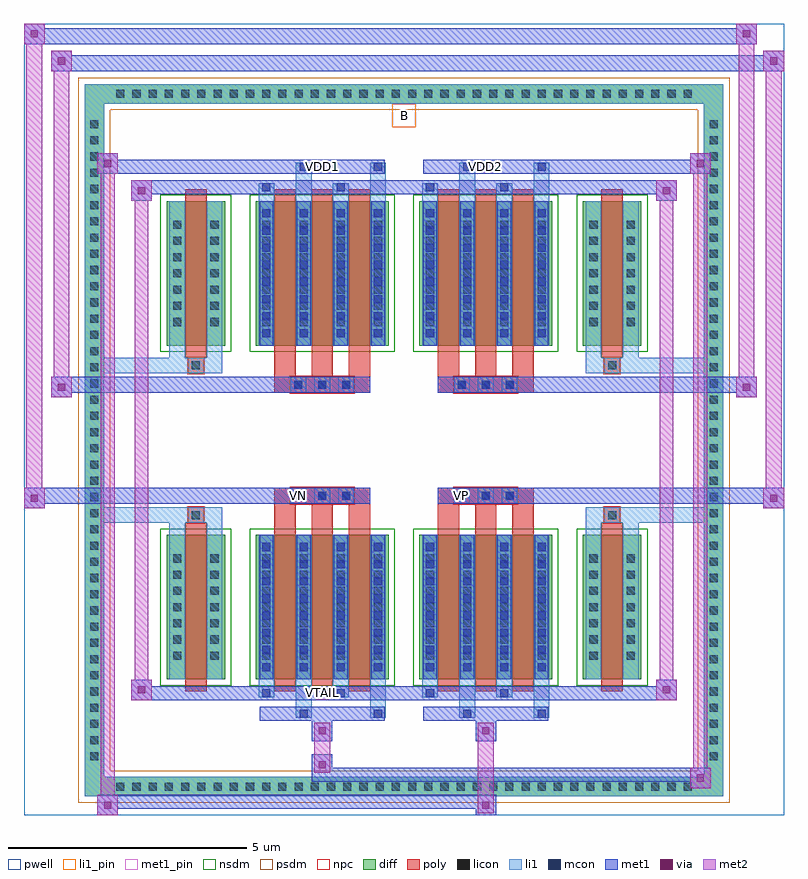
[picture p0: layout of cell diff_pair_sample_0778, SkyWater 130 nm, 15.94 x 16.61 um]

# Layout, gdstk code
import gdstk
lib = gdstk.Library(unit=1e-6, precision=5e-09)
def R(c, l, rs):  # rectangles x0, y0, x1, y1
    for r in rs: c.add(gdstk.rectangle(r[:2], r[2:], *l))
def A(c, l, x, y, w, h, nx, ny, dx, dy):  # array of equal rectangles
    R(c, l, [(x+i*dx, y+j*dy, x+i*dx+w, y+j*dy+h) for i in range(nx) for j in range(ny)])
def P(c, l, *ps):  # polygons
    for p in ps: c.add(gdstk.Polygon(p, *l))
pwell = (64, 44)
diff = (65, 20)
poly = (66, 20)
licon = (66, 44)
li1_pin = (67, 16)
li1 = (67, 20)
mcon = (67, 44)
met1_pin = (68, 16)
met1 = (68, 20)
via = (68, 44)
met2 = (69, 20)
nsdm = (93, 44)
psdm = (94, 20)
npc = (95, 20)

diff_pair_sample_0778 = lib.new_cell('diff_pair_sample_0778')
R(diff_pair_sample_0778, pwell, [(-7.97,-7.87,7.97,8.74), (-5.29,-6.06,-0.01,-0.8), (0.01,-6.06,5.29,-0.8), (-5.29,0.8,-0.01,6.06), (0.01,0.8,5.29,6.06)])
A(diff_pair_sample_0778, diff, -6.155, -7.47, 0.41, 0.41, 36, 2, 0.34, 14.53)
A(diff_pair_sample_0778, diff, -6.7, -6.835, 0.41, 0.41, 1, 40, 0, 0.34)
A(diff_pair_sample_0778, diff, 6.29, -6.835, 0.41, 0.41, 1, 40, 0, 0.34)
R(diff_pair_sample_0778, diff, [(-6.155,-7.47,6.155,-7.06), (-6.7,-6.835,-6.29,6.835), (6.29,-6.835,6.7,6.835), (-4.98,-5.015,-3.75,-1.985), (-3.11,-5.015,-0.32,-1.985), (0.32,-5.015,3.11,-1.985), (3.75,-5.015,4.98,-1.985), (-4.98,1.985,-3.75,5.015), (-3.11,1.985,-0.32,5.015), (0.32,1.985,3.11,5.015), (3.75,1.985,4.98,5.015), (-6.155,7.06,6.155,7.47)])
P(diff_pair_sample_0778, diff, [(6.7,7.47),(-6.7,7.47),(-6.7,-7.06),(-6.29,-7.06),(-6.29,7.06),(6.29,7.06),(6.29,-7.06),(-6.29,-7.06),(-6.7,-7.06),(-6.7,-7.47),(6.7,-7.47)])
A(diff_pair_sample_0778, poly, -2.72, -5.265, 0.45, 3.53, 3, 2, 0.78, 7)
A(diff_pair_sample_0778, poly, 0.71, -5.265, 0.45, 3.53, 3, 2, 0.78, 7)
A(diff_pair_sample_0778, poly, -2.72, -1.735, 0.45, 0.405, 3, 2, 0.78, 3.065)
A(diff_pair_sample_0778, poly, 0.71, -1.735, 0.45, 0.405, 3, 2, 0.78, 3.065)
A(diff_pair_sample_0778, poly, -2.38, -1.33, 0.33, 0.33, 3, 2, 0.5, 2.33)
A(diff_pair_sample_0778, poly, 1.05, -1.33, 0.33, 0.33, 3, 2, 0.5, 2.33)
R(diff_pair_sample_0778, poly, [(-4.59,-5.265,-4.14,-1.735), (4.14,-5.265,4.59,-1.735), (-4.53,-1.735,-4.2,-1.405), (-4.53,-1.735,-4.2,-1.405), (4.2,-1.735,4.53,-1.405), (4.2,-1.735,4.53,-1.405), (-2.72,-1.33,-0.71,-1), (0.71,-1.33,2.72,-1), (-2.72,1,-0.71,1.33), (0.71,1,2.72,1.33), (-4.53,1.405,-4.2,1.735), (-4.53,1.405,-4.2,1.735), (4.2,1.405,4.53,1.735), (4.2,1.405,4.53,1.735), (-4.59,1.735,-4.14,5.265), (4.14,1.735,4.59,5.265)])
A(diff_pair_sample_0778, licon, -6.035, -7.35, 0.17, 0.17, 36, 2, 0.34, 14.53)
A(diff_pair_sample_0778, licon, -6.58, -6.715, 0.17, 0.17, 1, 40, 0, 0.34)
A(diff_pair_sample_0778, licon, 6.41, -6.715, 0.17, 0.17, 1, 40, 0, 0.34)
A(diff_pair_sample_0778, licon, -4.84, -4.605, 0.17, 0.17, 1, 7, 0, 0.34)
A(diff_pair_sample_0778, licon, -4.06, -4.605, 0.17, 0.17, 1, 7, 0, 0.34)
A(diff_pair_sample_0778, licon, -2.97, -4.605, 0.17, 0.17, 4, 7, 0.78, 0.34)
A(diff_pair_sample_0778, licon, 0.46, -4.605, 0.17, 0.17, 4, 7, 0.78, 0.34)
A(diff_pair_sample_0778, licon, 3.89, -4.605, 0.17, 0.17, 1, 7, 0, 0.34)
A(diff_pair_sample_0778, licon, 4.67, -4.605, 0.17, 0.17, 1, 7, 0, 0.34)
A(diff_pair_sample_0778, licon, -2.3, -1.25, 0.17, 0.17, 3, 2, 0.5, 2.33)
A(diff_pair_sample_0778, licon, 1.13, -1.25, 0.17, 0.17, 3, 2, 0.5, 2.33)
A(diff_pair_sample_0778, licon, -4.84, 2.395, 0.17, 0.17, 1, 7, 0, 0.34)
A(diff_pair_sample_0778, licon, -4.06, 2.395, 0.17, 0.17, 1, 7, 0, 0.34)
A(diff_pair_sample_0778, licon, -2.97, 2.395, 0.17, 0.17, 4, 7, 0.78, 0.34)
A(diff_pair_sample_0778, licon, 0.46, 2.395, 0.17, 0.17, 4, 7, 0.78, 0.34)
A(diff_pair_sample_0778, licon, 3.89, 2.395, 0.17, 0.17, 1, 7, 0, 0.34)
A(diff_pair_sample_0778, licon, 4.67, 2.395, 0.17, 0.17, 1, 7, 0, 0.34)
R(diff_pair_sample_0778, licon, [(-4.45,-1.655,-4.28,-1.485), (4.28,-1.655,4.45,-1.485), (-4.45,1.485,-4.28,1.655), (4.28,1.485,4.45,1.655)])
R(diff_pair_sample_0778, li1_pin, [(-0.25,6.56,0.25,7.06)])
A(diff_pair_sample_0778, li1, -6.115, -7.43, 0.33, 0.33, 36, 2, 0.34, 14.53)
A(diff_pair_sample_0778, li1, -6.66, -6.795, 0.33, 0.33, 1, 40, 0, 0.34)
A(diff_pair_sample_0778, li1, 6.33, -6.795, 0.33, 0.33, 1, 40, 0, 0.34)
A(diff_pair_sample_0778, li1, -3.05, -5.015, 0.33, 3.03, 4, 2, 0.78, 7)
A(diff_pair_sample_0778, li1, 0.38, -5.015, 0.33, 3.03, 4, 2, 0.78, 7)
A(diff_pair_sample_0778, li1, -2.97, -4.845, 0.17, 0.17, 4, 8, 0.78, 0.36)
A(diff_pair_sample_0778, li1, -2.97, -4.845, 0.17, 2.69, 4, 2, 0.78, 7)
A(diff_pair_sample_0778, li1, 0.46, -4.845, 0.17, 0.17, 4, 8, 0.78, 0.36)
A(diff_pair_sample_0778, li1, 0.46, -4.845, 0.17, 2.69, 4, 2, 0.78, 7)
A(diff_pair_sample_0778, li1, -4.92, -4.685, 0.33, 0.33, 1, 7, 0, 0.34)
A(diff_pair_sample_0778, li1, -4.14, -4.685, 0.33, 0.33, 1, 7, 0, 0.34)
A(diff_pair_sample_0778, li1, -3.05, -4.685, 0.33, 0.33, 4, 7, 0.78, 0.34)
A(diff_pair_sample_0778, li1, 0.38, -4.685, 0.33, 0.33, 4, 7, 0.78, 0.34)
A(diff_pair_sample_0778, li1, 3.81, -4.685, 0.33, 0.33, 1, 7, 0, 0.34)
A(diff_pair_sample_0778, li1, 4.59, -4.685, 0.33, 0.33, 1, 7, 0, 0.34)
A(diff_pair_sample_0778, li1, -2.38, -1.33, 0.33, 0.33, 3, 2, 0.5, 2.33)
A(diff_pair_sample_0778, li1, 1.05, -1.33, 0.33, 0.33, 3, 2, 0.5, 2.33)
A(diff_pair_sample_0778, li1, -2.97, 2.155, 0.17, 0.17, 4, 8, 0.78, 0.36)
A(diff_pair_sample_0778, li1, 0.46, 2.155, 0.17, 0.17, 4, 8, 0.78, 0.36)
A(diff_pair_sample_0778, li1, -4.92, 2.315, 0.33, 0.33, 1, 7, 0, 0.34)
A(diff_pair_sample_0778, li1, -4.14, 2.315, 0.33, 0.33, 1, 7, 0, 0.34)
A(diff_pair_sample_0778, li1, -3.05, 2.315, 0.33, 0.33, 4, 7, 0.78, 0.34)
A(diff_pair_sample_0778, li1, 0.38, 2.315, 0.33, 0.33, 4, 7, 0.78, 0.34)
A(diff_pair_sample_0778, li1, 3.81, 2.315, 0.33, 0.33, 1, 7, 0, 0.34)
A(diff_pair_sample_0778, li1, 4.59, 2.315, 0.33, 0.33, 1, 7, 0, 0.34)
R(diff_pair_sample_0778, li1, [(-6.7,-7.47,-6.29,-7.06), (-6.7,-7.47,-6.29,-7.06), (-6.29,-7.47,6.29,-7.06), (6.29,-7.47,6.7,-7.06), (6.29,-7.47,6.7,-7.06), (-6.7,-7.06,-6.29,7.06), (6.29,-7.06,6.7,7.06), (-2.27,-5.82,-1.94,-5.015), (-2.19,-5.82,-2.02,-5.65), (-0.71,-5.82,-0.38,-5.015), (-0.63,-5.82,-0.46,-5.65), (1.16,-5.82,1.49,-5.015), (1.24,-5.82,1.41,-5.65), (2.72,-5.82,3.05,-5.015), (2.8,-5.82,2.97,-5.65), (-3.05,-5.39,-2.72,-5.015), (-2.97,-5.39,-2.8,-5.22), (-1.49,-5.39,-1.16,-5.015), (-1.41,-5.39,-1.24,-5.22), (0.38,-5.39,0.71,-5.015), (0.46,-5.39,0.63,-5.22), (1.94,-5.39,2.27,-5.015), (2.02,-5.39,2.19,-5.22), (-4.92,-5.015,-4.59,-1.985), (-4.14,-5.015,-3.81,-1.985), (3.81,-5.015,4.14,-1.985), (4.59,-5.015,4.92,-1.985), (-4.92,-1.985,-4.59,-1.405), (-4.14,-1.985,-3.81,-1.405), (3.81,-1.985,4.14,-1.405), (4.59,-1.985,4.92,-1.405), (-6.7,-1.735,-4.53,-1.405), (-4.92,-1.735,-4.53,-1.405), (-4.53,-1.735,-4.2,-1.405), (-4.2,-1.735,-3.81,-1.405), (3.81,-1.735,4.2,-1.405), (4.2,-1.735,4.53,-1.405), (4.2,-1.735,6.7,-1.405), (4.53,-1.735,4.92,-1.405), (-6.7,1.405,-4.53,1.735), (-4.92,1.405,-4.53,1.735), (-4.92,1.405,-4.59,1.985), (-4.53,1.405,-4.2,1.735), (-4.2,1.405,-3.81,1.735), (-4.14,1.405,-3.81,1.985), (3.81,1.405,4.2,1.735), (3.81,1.405,4.14,1.985), (4.2,1.405,4.53,1.735), (4.2,1.405,6.7,1.735), (4.53,1.405,4.92,1.735), (4.59,1.405,4.92,1.985), (-4.92,1.985,-4.59,5.015), (-4.14,1.985,-3.81,5.015), (3.81,1.985,4.14,5.015), (4.59,1.985,4.92,5.015), (-3.05,5.015,-2.72,5.39), (-2.27,5.015,-1.94,5.82), (-1.49,5.015,-1.16,5.39), (-0.71,5.015,-0.38,5.82), (0.38,5.015,0.71,5.39), (1.16,5.015,1.49,5.82), (1.94,5.015,2.27,5.39), (2.72,5.015,3.05,5.82), (-2.97,5.22,-2.8,5.39), (-1.41,5.22,-1.24,5.39), (0.46,5.22,0.63,5.39), (2.02,5.22,2.19,5.39), (-2.19,5.65,-2.02,5.82), (-0.63,5.65,-0.46,5.82), (1.24,5.65,1.41,5.82), (2.8,5.65,2.97,5.82), (-6.7,7.06,-6.29,7.47), (-6.7,7.06,-6.29,7.47), (-6.29,7.06,6.29,7.47), (6.29,7.06,6.7,7.47), (6.29,7.06,6.7,7.47)])
A(diff_pair_sample_0778, mcon, -2.97, -4.845, 0.17, 0.17, 4, 8, 0.78, 0.36)
A(diff_pair_sample_0778, mcon, 0.46, -4.845, 0.17, 0.17, 4, 8, 0.78, 0.36)
A(diff_pair_sample_0778, mcon, -2.3, -1.25, 0.17, 0.17, 3, 2, 0.5, 2.33)
A(diff_pair_sample_0778, mcon, 1.13, -1.25, 0.17, 0.17, 3, 2, 0.5, 2.33)
A(diff_pair_sample_0778, mcon, -2.97, 2.155, 0.17, 0.17, 4, 8, 0.78, 0.36)
A(diff_pair_sample_0778, mcon, 0.46, 2.155, 0.17, 0.17, 4, 8, 0.78, 0.36)
R(diff_pair_sample_0778, mcon, [(-2.19,-5.82,-2.02,-5.65), (-0.63,-5.82,-0.46,-5.65), (1.24,-5.82,1.41,-5.65), (2.8,-5.82,2.97,-5.65), (-2.97,-5.39,-2.8,-5.22), (-1.41,-5.39,-1.24,-5.22), (0.46,-5.39,0.63,-5.22), (2.02,-5.39,2.19,-5.22), (-2.97,5.22,-2.8,5.39), (-1.41,5.22,-1.24,5.39), (0.46,5.22,0.63,5.39), (2.02,5.22,2.19,5.39), (-2.19,5.65,-2.02,5.82), (-0.63,5.65,-0.46,5.82), (1.24,5.65,1.41,5.82), (2.8,5.65,2.97,5.82)])
R(diff_pair_sample_0778, met1_pin, [(-1.85,-5.43,-1.58,-5.16), (-2.35,-1.29,-2.08,-1.02), (1.08,-1.29,1.35,-1.02), (-1.85,5.61,-1.58,5.88), (1.58,5.61,1.85,5.88)])
A(diff_pair_sample_0778, met1, -3.03, -5.015, 0.29, 3.03, 4, 2, 0.78, 7)
A(diff_pair_sample_0778, met1, 0.4, -5.015, 0.29, 3.03, 4, 2, 0.78, 7)
A(diff_pair_sample_0778, met1, -3.03, -4.905, 0.29, 0.29, 4, 8, 0.78, 0.36)
A(diff_pair_sample_0778, met1, 0.4, -4.905, 0.29, 0.29, 4, 8, 0.78, 0.36)
A(diff_pair_sample_0778, met1, -2.36, -1.31, 0.29, 0.29, 3, 2, 0.5, 2.33)
A(diff_pair_sample_0778, met1, 1.07, -1.31, 0.29, 0.29, 3, 2, 0.5, 2.33)
A(diff_pair_sample_0778, met1, -3.03, 2.095, 0.29, 0.29, 4, 8, 0.78, 0.36)
A(diff_pair_sample_0778, met1, 0.4, 2.095, 0.29, 0.29, 4, 8, 0.78, 0.36)
R(diff_pair_sample_0778, met1, [(-6.43,-7.87,-6,-7.44), (1.5,-7.87,1.93,-7.44), (-6.43,-7.73,1.93,-7.44), (6,-7.3,6.43,-6.87), (-1.93,-7.16,6.43,-6.87), (-1.93,-7.02,-1.5,-6.59), (-1.93,-6.31,-1.5,-5.88), (1.5,-6.31,1.93,-5.88), (-3.03,-5.88,-0.4,-5.59), (-2.25,-5.88,-1.96,-5.59), (-0.69,-5.88,-0.4,-5.59), (0.4,-5.88,3.03,-5.59), (1.18,-5.88,1.47,-5.59), (2.74,-5.88,3.03,-5.59), (-5.72,-5.45,-5.29,-5.02), (-5.72,-5.45,-3.03,-5.16), (-3.03,-5.45,-2.74,-5.16), (-3.03,-5.45,-0.4,-5.16), (-1.47,-5.45,-1.18,-5.16), (-0.4,-5.45,0.4,-5.16), (0.4,-5.45,0.69,-5.16), (0.4,-5.45,3.03,-5.16), (1.96,-5.45,2.25,-5.16), (3.03,-5.45,5.72,-5.16), (5.29,-5.45,5.72,-5.02), (-7.97,-1.43,-7.54,-1), (7.54,-1.43,7.97,-1), (-7.97,-1.33,-0.71,-1), (-2.72,-1.33,-0.71,-1), (0.71,-1.33,2.72,-1), (0.71,-1.33,7.97,-1), (-7.4,0.9,-6.97,1.33), (6.97,0.9,7.4,1.33), (-7.4,1,-2.72,1.33), (-2.72,1,-0.71,1.33), (0.71,1,2.72,1.33), (2.72,1,7.4,1.33), (-5.72,5.02,-5.29,5.45), (5.29,5.02,5.72,5.45), (-5.72,5.16,-3.03,5.45), (-3.03,5.16,-2.74,5.45), (-3.03,5.16,-0.4,5.45), (-1.47,5.16,-1.18,5.45), (-0.4,5.16,0.4,5.45), (0.4,5.16,0.69,5.45), (0.4,5.16,3.03,5.45), (1.96,5.16,2.25,5.45), (3.03,5.16,5.72,5.45), (-6.43,5.59,-6,6.02), (-6.43,5.59,-3.03,5.88), (-3.03,5.59,-0.4,5.88), (-2.25,5.59,-1.96,5.88), (-0.69,5.59,-0.4,5.88), (0.4,5.59,3.03,5.88), (1.18,5.59,1.47,5.88), (2.74,5.59,3.03,5.88), (3.03,5.59,6.43,5.88), (6,5.59,6.43,6.02), (-7.4,7.74,-6.97,8.17), (-7.4,7.74,-5.29,8.07), (-5.29,7.74,5.29,8.07), (5.29,7.74,7.97,8.07), (7.54,7.74,7.97,8.17), (-7.97,8.31,-7.54,8.74), (-7.97,8.31,-5.29,8.64), (-5.29,8.31,5.29,8.64), (5.29,8.31,7.4,8.64), (6.97,8.31,7.4,8.74)])
R(diff_pair_sample_0778, via, [(-6.29,-7.73,-6.14,-7.58), (1.64,-7.73,1.79,-7.58), (6.14,-7.16,6.29,-7.01), (-1.79,-6.88,-1.64,-6.73), (-1.79,-6.17,-1.64,-6.02), (1.64,-6.17,1.79,-6.02), (-5.58,-5.31,-5.43,-5.16), (5.43,-5.31,5.58,-5.16), (-7.83,-1.29,-7.68,-1.14), (7.68,-1.29,7.83,-1.14), (-7.26,1.04,-7.11,1.19), (7.11,1.04,7.26,1.19), (-5.58,5.16,-5.43,5.31), (5.43,5.16,5.58,5.31), (-6.29,5.73,-6.14,5.88), (6.14,5.73,6.29,5.88), (-7.26,7.88,-7.11,8.03), (7.68,7.88,7.83,8.03), (-7.83,8.45,-7.68,8.6), (7.11,8.45,7.26,8.6)])
R(diff_pair_sample_0778, met2, [(-6.43,-7.87,-6,-7.44), (-6.36,-7.87,-6.07,6.02), (-6.07,-7.87,-6,-7.44), (-6.38,-7.82,-6.05,-7.49), (1.55,-7.82,1.88,-7.49), (1.55,-7.49,1.88,-6.26), (6,-7.3,6.43,-6.87), (6.07,-7.3,6.36,6.02), (6.36,-7.3,6.43,-6.87), (6.05,-7.25,6.38,-6.92), (-1.88,-6.97,-1.55,-6.64), (-1.88,-6.64,-1.55,-6.26), (-1.88,-6.26,-1.55,-5.93), (1.55,-6.26,1.88,-5.93), (-5.72,-5.45,-5.29,-5.02), (-5.65,-5.45,-5.36,5.45), (-5.36,-5.45,-5.29,-5.02), (5.29,-5.45,5.72,-5.02), (5.36,-5.45,5.65,5.45), (5.65,-5.45,5.72,-5.02), (-5.67,-5.4,-5.34,-5.07), (5.34,-5.4,5.67,-5.07), (-7.97,-1.43,-7.54,-1), (-7.92,-1.43,-7.59,8.74), (-7.59,-1.43,-7.54,-1), (7.54,-1.43,7.97,-1), (7.59,-1.43,7.92,8.17), (7.92,-1.43,7.97,-1), (-7.92,-1.38,-7.59,-1.05), (7.59,-1.38,7.92,-1.05), (-7.4,0.9,-6.97,1.33), (-7.35,0.9,-7.02,8.17), (-7.02,0.9,-6.97,1.33), (6.97,0.9,7.4,1.33), (7.02,0.9,7.35,8.74), (7.35,0.9,7.4,1.33), (-7.35,0.95,-7.02,1.28), (7.02,0.95,7.35,1.28), (-5.72,5.02,-5.29,5.45), (-5.36,5.02,-5.29,5.45), (5.29,5.02,5.72,5.45), (5.65,5.02,5.72,5.45), (-5.67,5.07,-5.34,5.4), (5.34,5.07,5.67,5.4), (-6.43,5.59,-6,6.02), (-6.07,5.59,-6,6.02), (6,5.59,6.43,6.02), (6.36,5.59,6.43,6.02), (-6.38,5.64,-6.05,5.97), (6.05,5.64,6.38,5.97), (-7.4,7.74,-6.97,8.17), (-7.02,7.74,-6.97,8.17), (7.54,7.74,7.97,8.17), (7.92,7.74,7.97,8.17), (-7.35,7.79,-7.02,8.12), (7.59,7.79,7.92,8.12), (-7.97,8.31,-7.54,8.74), (-7.59,8.31,-7.54,8.74), (6.97,8.31,7.4,8.74), (7.35,8.31,7.4,8.74), (-7.92,8.36,-7.59,8.69), (7.02,8.36,7.35,8.69)])
R(diff_pair_sample_0778, nsdm, [(-5.11,-5.145,-3.62,-1.855), (-3.24,-5.145,-0.19,-1.855), (0.19,-5.145,3.24,-1.855), (3.62,-5.145,5.11,-1.855), (-5.11,1.855,-3.62,5.145), (-3.24,1.855,-0.19,5.145), (0.19,1.855,3.24,5.145), (3.62,1.855,5.11,5.145)])
P(diff_pair_sample_0778, psdm, [(6.83,7.6),(-6.83,7.6),(-6.83,-6.93),(-6.16,-6.93),(-6.16,6.93),(6.16,6.93),(6.16,-6.93),(-6.16,-6.93),(-6.83,-6.93),(-6.83,-7.6),(6.83,-7.6)])
A(diff_pair_sample_0778, npc, -2.4, -1.35, 0.37, 0.37, 3, 2, 0.5, 2.33)
A(diff_pair_sample_0778, npc, 1.03, -1.35, 0.37, 0.37, 3, 2, 0.5, 2.33)
R(diff_pair_sample_0778, npc, [(-4.55,-1.755,-4.18,-1.385), (4.18,-1.755,4.55,-1.385), (-2.4,-1.35,-1.53,-0.98), (-2.4,-1.35,-1.53,-0.98), (-1.9,-1.35,-1.03,-0.98), (-1.9,-1.35,-1.03,-0.98), (1.03,-1.35,1.9,-0.98), (1.03,-1.35,1.9,-0.98), (1.53,-1.35,2.4,-0.98), (1.53,-1.35,2.4,-0.98), (-2.4,0.98,-1.53,1.35), (-2.4,0.98,-1.53,1.35), (-1.9,0.98,-1.03,1.35), (-1.9,0.98,-1.03,1.35), (1.03,0.98,1.9,1.35), (1.03,0.98,1.9,1.35), (1.53,0.98,2.4,1.35), (1.53,0.98,2.4,1.35), (-4.55,1.385,-4.18,1.755), (4.18,1.385,4.55,1.755)])
diff_pair_sample_0778.add(gdstk.Label('VTAIL', (-1.715,-5.295), layer=68, texttype=5))
diff_pair_sample_0778.add(gdstk.Label('VN', (-2.215,-1.155), layer=68, texttype=5))
diff_pair_sample_0778.add(gdstk.Label('VP', (1.215,-1.155), layer=68, texttype=5))
diff_pair_sample_0778.add(gdstk.Label('B', (0,6.81), layer=67, texttype=5))
diff_pair_sample_0778.add(gdstk.Label('VDD2', (1.715,5.745), layer=68, texttype=5))
diff_pair_sample_0778.add(gdstk.Label('VDD1', (-1.715,5.745), layer=68, texttype=5))

lib.write_gds('diff_pair_sample_0778.gds')
